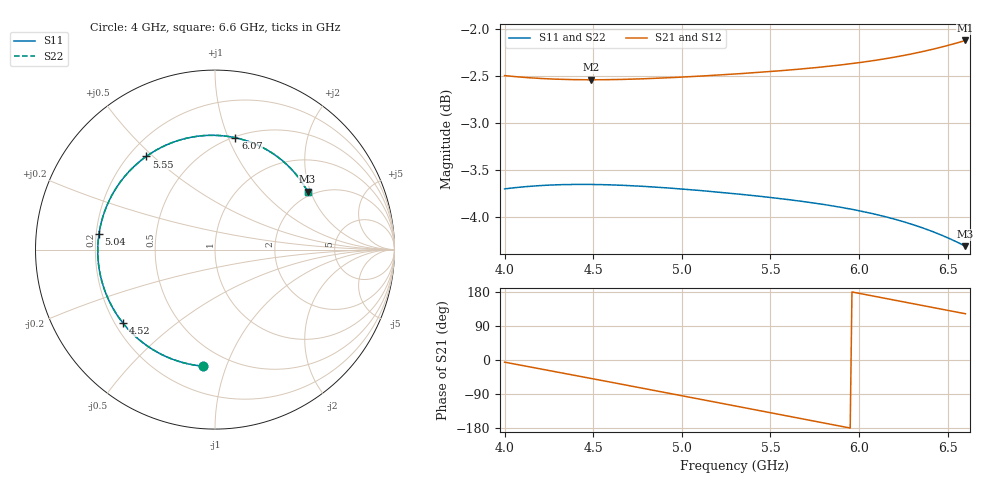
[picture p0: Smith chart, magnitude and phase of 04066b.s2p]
!freq-unit  param-type  data-format  keyword  impedance-ohms
# GHZ  S  RI  R  50
!Freq  ReS11  ImS11  ReS21  ImS21  ReS12  ImS12  ReS22  ImS22
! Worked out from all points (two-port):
!   261 points, 4 GHz to 6.6 GHz, reference 50 ohm
!   highest |S21| = -2.13 dB at 6.6 GHz (marker M1); lowest = -2.5 dB at 4.49 GHz (marker M2)
!   |S21| within 3 dB of the highest: start of sweep to end of sweep
!   lowest |S11| = -4.3 dB at 6.6 GHz (marker M3), VSWR 4.11, Z = 92.8 + j95.3 ohm
!   |S11| at or under -10 dB: nowhere
!   |S22| runs from -4.3 to -3.7 dB; largest |S21 - S12| = 0
!   S11 on the Smith chart (normalised r, x): 4 GHz: 0.37, -0.84; 4.52 GHz: 0.23, -0.33; 5.04 GHz: 0.21, +0.07; 5.55 GHz: 0.27, +0.48; 6.07 GHz: 0.51, +1.06; 6.6 GHz: 1.86, +1.91
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4  -0.0646 -0.6495  0.7462 -0.0741  0.7462 -0.0741  -0.0646 -0.6495
4.1  -0.1633 -0.6336  0.7247 -0.1867  0.7247 -0.1867  -0.1633 -0.6336
4.21  -0.2679 -0.5982  0.6819 -0.3053  0.6819 -0.3053  -0.2679 -0.5982
4.32  -0.3651 -0.5451  0.6201 -0.4154  0.6201 -0.4154  -0.3651 -0.5451
4.44  -0.4593 -0.4688  0.5329 -0.5221  0.5329 -0.5221  -0.4593 -0.4688
4.49  -0.4941 -0.4319  0.491 -0.5616  0.491 -0.5616  -0.4941 -0.4319
4.52  -0.5135 -0.4085  0.4644 -0.5838  0.4644 -0.5838  -0.5135 -0.4085
4.7  -0.6054 -0.251  0.2859 -0.6896  0.2859 -0.6896  -0.6054 -0.251
4.87  -0.6486 -0.0839  0.0959 -0.7413  0.0959 -0.7413  -0.6486 -0.0839
5.04  -0.6461 0.0888  -0.102 -0.7418  -0.102 -0.7418  -0.6461 0.0888
5.17  -0.6134 0.2169  -0.2501 -0.7071  -0.2501 -0.7071  -0.6134 0.2169
5.3  -0.5554 0.3356  -0.3886 -0.643  -0.3886 -0.643  -0.5554 0.3356
5.42  -0.4815 0.4324  -0.5029 -0.5599  -0.5029 -0.5599  -0.4815 0.4324
5.55  -0.3828 0.5193  -0.6072 -0.4474  -0.6072 -0.4474  -0.3828 0.5193
5.74  -0.2123 0.6055  -0.7144 -0.2502  -0.7144 -0.2502  -0.2123 0.6055
5.91  -0.045 0.6363  -0.7581 -0.0534  -0.7581 -0.0534  -0.045 0.6363
6.07  0.1134 0.6232  -0.751 0.1371  -0.751 0.1371  0.1134 0.6232
6.17  0.2082 0.5947  -0.7229 0.2535  -0.7229 0.2535  0.2082 0.5947
6.27  0.2965 0.5516  -0.6772 0.3646  -0.6772 0.3646  0.2965 0.5516
6.38  0.3836 0.4886  -0.6077 0.4778  -0.6077 0.4778  0.3836 0.4886
6.49  0.4574 0.4117  -0.5197 0.5784  -0.5197 0.5784  0.4574 0.4117
6.6  0.5155 0.3234  -0.4153 0.6635  -0.4153 0.6635  0.5155 0.3234
